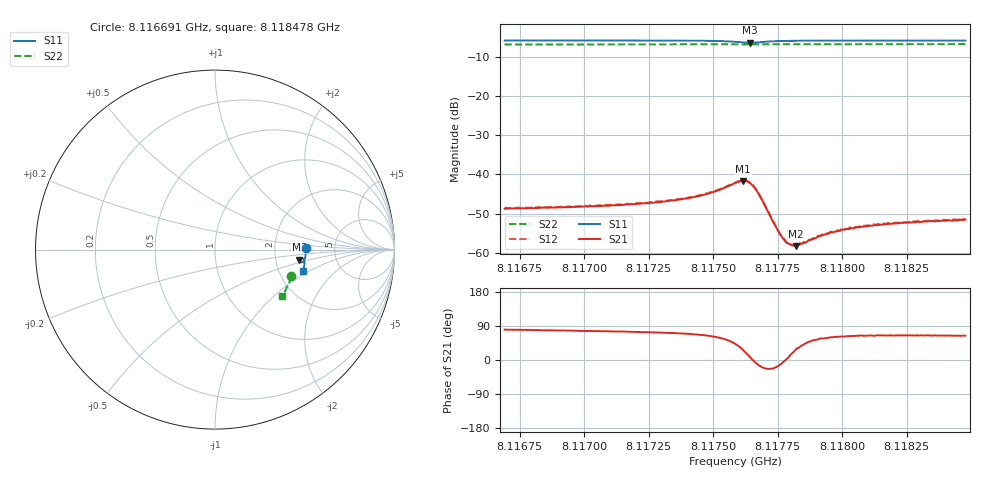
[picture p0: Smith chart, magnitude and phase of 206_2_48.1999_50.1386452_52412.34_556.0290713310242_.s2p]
#  HZ  S  RI  R  50.00
! Rohde & Schwarz Vector Network Analyzer
! Rohde-Schwarz,ZNB20-2Port,1311601062101988,3.16
! Created: UTC 3/20/2024, 11:45:14 AM
! freq[Hz]  re:S11  im:S11  re:S21  im:S21  re:S12  im:S12  re:S22  im:S22
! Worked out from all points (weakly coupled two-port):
!   401 points, 8.116691 GHz to 8.118478 GHz, reference 50 ohm
!   highest |S21| = -41.65 dB at 8.117616 GHz (marker M1); lowest = -58.3 dB at 8.117821 GHz (marker M2)
!   lowest |S11| = -6.5 dB at 8.117643 GHz (marker M3), VSWR 2.80, Z = 137 - j20 ohm
!   |S11| at or under -10 dB: nowhere
!   |S22| runs from -6.9 to -6.8 dB; largest |S21 - S12| = 0.00022
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8.1166913e9  0.5066 0.00677  0.00063 0.00359  0.000674 0.00369  0.425 -0.1487
8.1169906e9  0.506 -0.0164  0.000884 0.00378  0.000926 0.00384  0.4185 -0.1684
8.1171469e9  0.505 -0.029  0.00106 0.00395  0.00113 0.00401  0.4146 -0.1787
8.1172898e9  0.5035 -0.041  0.00135 0.00425  0.00144 0.00432  0.411 -0.1881
8.1173925e9  0.5014 -0.0505  0.00174 0.0046  0.00183 0.00468  0.4082 -0.1947
8.1174595e9  0.4989 -0.0575  0.00224 0.00499  0.00235 0.00503  0.4061 -0.199
8.1175176e9  0.4947 -0.0643  0.00314 0.00538  0.00327 0.00546  0.4043 -0.2029
8.1175846e9  0.4826 -0.0706  0.00564 0.00527  0.0058 0.00531  0.4017 -0.207
8.1176158e9  0.4734 -0.0668  0.00741 0.00368  0.00757 0.00366  0.4006 -0.2086
8.1176426e9  0.47 -0.0567  0.00767 0.00105  0.00787 0.000961  0.3997 -0.2096
8.1176605e9  0.4731 -0.0501  0.00674 -0.000599  0.00684 -0.000659  0.3995 -0.2106
8.1176784e9  0.4789 -0.0465  0.0053 -0.00141  0.0054 -0.00152  0.3994 -0.2115
8.1177498e9  0.4946 -0.0532  0.00187 -0.000555  0.00188 -0.000577  0.3977 -0.2163
8.1177722e9  0.4965 -0.0566  0.0015 -0.000122  0.00153 -0.000145  0.3973 -0.2178
8.1177945e9  0.4975 -0.0597  0.00129 0.000217  0.0013 0.000188  0.3965 -0.2192
8.1178213e9  0.4983 -0.0632  0.00107 0.000582  0.00112 0.000584  0.3957 -0.221
8.1178838e9  0.4989 -0.0702  0.00093 0.00118  0.000996 0.00116  0.3937 -0.225
8.1179508e9  0.4985 -0.0769  0.000902 0.00152  0.000909 0.00157  0.3916 -0.2292
8.1180089e9  0.4981 -0.0821  0.000921 0.00174  0.00095 0.0018  0.3897 -0.2329
8.1180848e9  0.4971 -0.0886  0.000959 0.00195  0.00101 0.00199  0.3871 -0.2374
8.1181831e9  0.4958 -0.0965  0.00101 0.00213  0.00101 0.00219  0.3837 -0.2437
8.1184778e9  0.4907 -0.1191  0.00115 0.00239  0.00118 0.00242  0.3729 -0.2612
